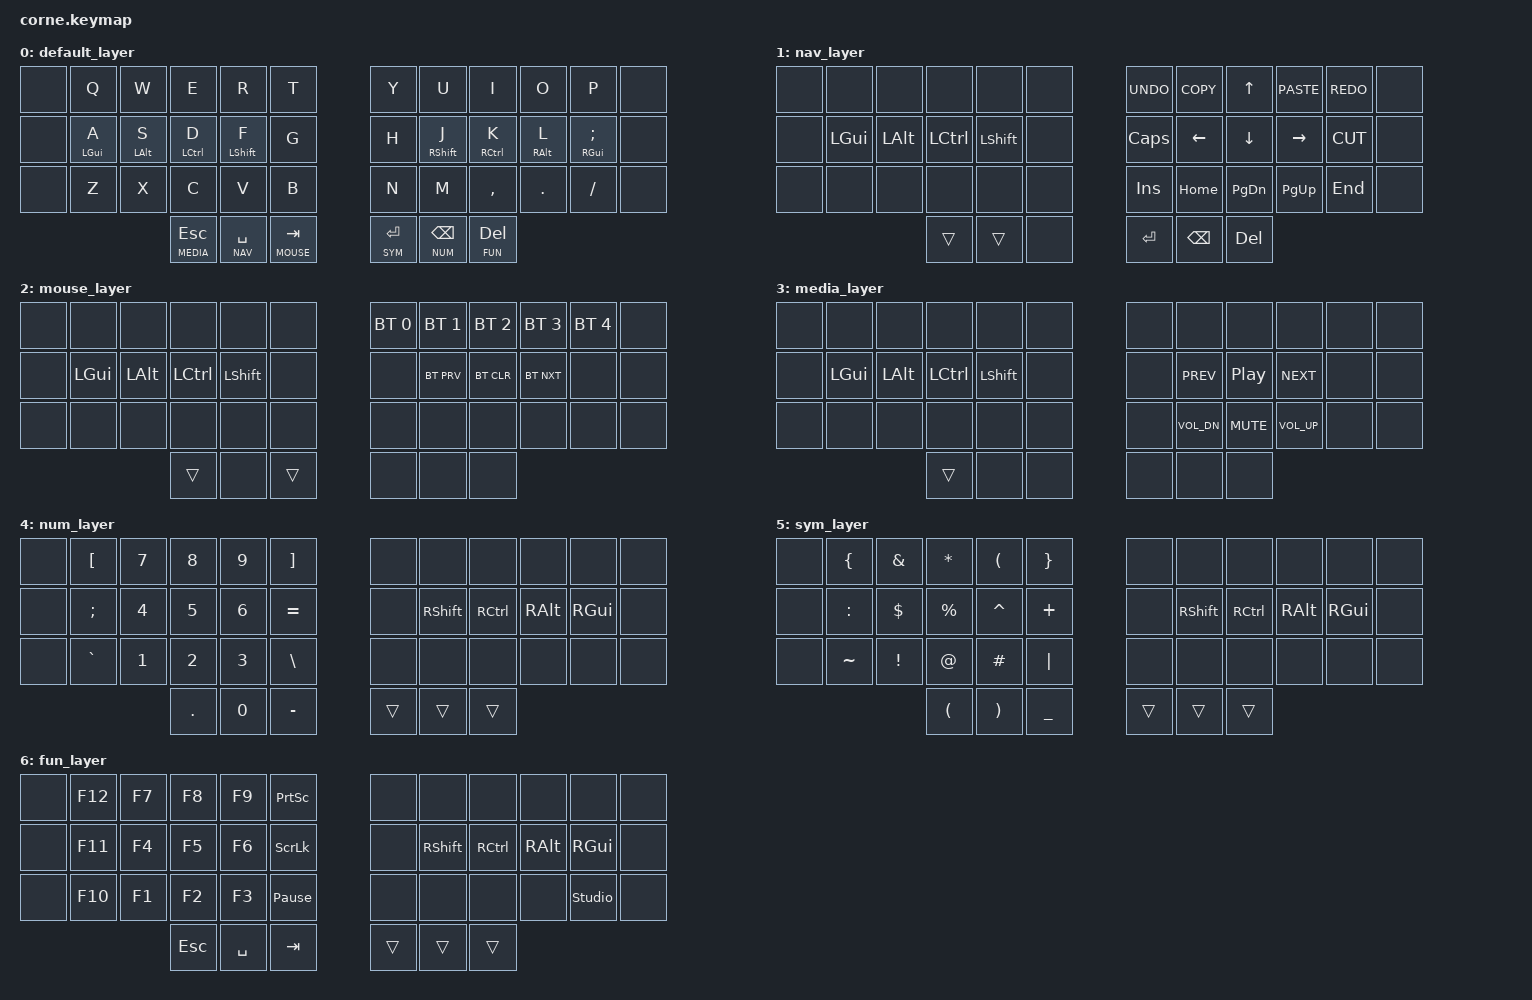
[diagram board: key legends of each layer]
#include <behaviors.dtsi>
#include <dt-bindings/zmk/bt.h>
#include <dt-bindings/zmk/keys.h>
#define DEFAULT 0
#define NAV     1
#define MOUSE   2
#define MEDIA   3
#define NUM     4
#define SYM     5
#define FUN     6
/ {
    behaviors {
        hm: homerow_mods {
            compatible = "zmk,behavior-hold-tap";
            label = "HOMEROW_MODS";
            #binding-cells = <2>;
            tapping-term-ms = <200>;
            quick-tap-ms = <0>;
            flavor = "tap-preferred";
            bindings = <&kp>, <&kp>;
        };
    };
    keymap {
        compatible = "zmk,keymap";
        default_layer {
            bindings = <
&none  &kp Q       &kp W       &kp E          &kp R          &kp T            &kp Y        &kp U         &kp I        &kp O       &kp P          &none
&none  &hm LGUI A  &hm LALT S  &hm LCTRL D    &hm LSHFT F    &kp G            &kp H        &hm RSHFT J   &hm RCTRL K  &hm RALT L  &hm RGUI SEMI  &none
&none  &kp Z       &kp X       &kp C          &kp V          &kp B            &kp N        &kp M         &kp COMMA    &kp DOT     &kp FSLH       &none
                               &lt MEDIA ESC  &lt NAV SPACE  &lt MOUSE TAB    &lt SYM RET  &lt NUM BSPC  &lt FUN DEL
            >;
        };
        nav_layer {
            bindings = <
&none  &none     &none     &none      &none      &none    &kp K_UNDO  &kp K_COPY  &kp UP_ARROW   &kp K_PASTE  &kp K_REDO  &none
&none  &kp LGUI  &kp LALT  &kp LCTRL  &kp LSHFT  &none    &kp CAPS    &kp LEFT    &kp DOWN       &kp RIGHT    &kp K_CUT   &none
&none  &none     &none     &none      &none      &none    &kp INSERT  &kp HOME    &kp PAGE_DOWN  &kp PAGE_UP  &kp END     &none
                           &trans     &trans     &none    &kp RET     &kp BSPC    &kp DEL
            >;
        };
        mouse_layer {
            bindings = <
&none  &none     &none     &none      &none      &none     &bt BT_SEL 0  &bt BT_SEL 1  &bt BT_SEL 2  &bt BT_SEL 3  &bt BT_SEL 4  &none
&none  &kp LGUI  &kp LALT  &kp LCTRL  &kp LSHFT  &none     &none         &bt BT_PRV    &bt BT_CLR    &bt BT_NXT    &none         &none
&none  &none     &none     &none      &none      &none     &none         &none         &none         &none         &none         &none
                           &trans     &none      &trans    &none         &none         &none
            >;
        };
        media_layer {
            bindings = <
&none  &none     &none     &none      &none      &none    &none  &none         &none       &none         &none  &none
&none  &kp LGUI  &kp LALT  &kp LCTRL  &kp LSHFT  &none    &none  &kp C_PREV    &kp C_PP    &kp C_NEXT    &none  &none
&none  &none     &none     &none      &none      &none    &none  &kp C_VOL_DN  &kp C_MUTE  &kp C_VOL_UP  &none  &none
                           &trans     &none      &none    &none  &none         &none
            >;
        };
        num_layer {
            bindings = <
&none  &kp LBKT   &kp N7  &kp N8   &kp N9  &kp RBKT     &none   &none      &none      &none     &none     &none
&none  &kp SEMI   &kp N4  &kp N5   &kp N6  &kp EQUAL    &none   &kp RSHFT  &kp RCTRL  &kp RALT  &kp RGUI  &none
&none  &kp GRAVE  &kp N1  &kp N2   &kp N3  &kp BSLH     &none   &none      &none      &none     &none     &none
                          &kp DOT  &kp N0  &kp MINUS    &trans  &trans     &trans
            >;
        };
        sym_layer {
            bindings = <
&none  &kp LBRC   &kp AMPS  &kp STAR   &kp LPAR   &kp RBRC     &none   &none      &none      &none     &none     &none
&none  &kp COLON  &kp DLLR  &kp PRCNT  &kp CARET  &kp PLUS     &none   &kp RSHFT  &kp RCTRL  &kp RALT  &kp RGUI  &none
&none  &kp TILDE  &kp EXCL  &kp AT     &kp HASH   &kp PIPE     &none   &none      &none      &none     &none     &none
                            &kp LPAR   &kp RPAR   &kp UNDER    &trans  &trans     &trans
            >;
        };
        fun_layer {
            bindings = <
&none  &kp F12     &kp F7  &kp F8   &kp F9     &kp PSCRN          &none   &none      &none      &none     &none          &none
&none  &kp F11     &kp F4  &kp F5   &kp F6     &kp SLCK           &none   &kp RSHFT  &kp RCTRL  &kp RALT  &kp RGUI       &none
&none  &kp F10     &kp F1  &kp F2   &kp F3     &kp PAUSE_BREAK    &none   &none      &none      &none     &studio_unlock &none
                           &kp ESC  &kp SPACE  &kp TAB            &trans  &trans     &trans
            >;
        };
    };
};
